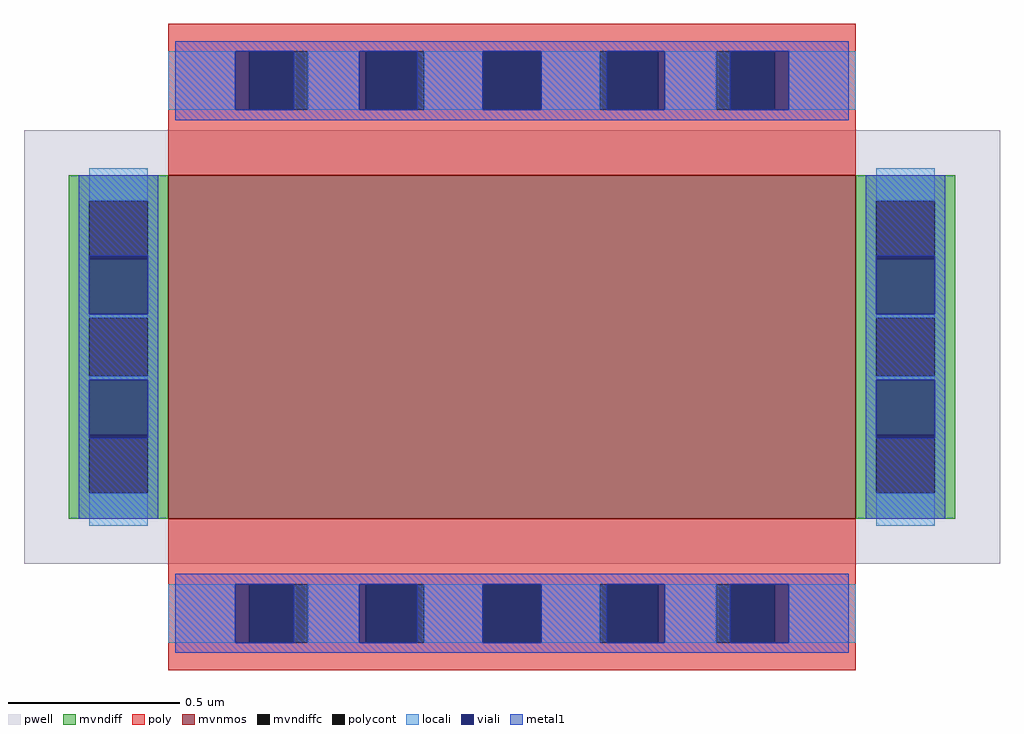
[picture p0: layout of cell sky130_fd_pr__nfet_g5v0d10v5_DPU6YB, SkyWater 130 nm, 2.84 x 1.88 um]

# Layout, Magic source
magic
tech sky130A
magscale 1 2
<< pwell >>
rect -284 -126 284 126
<< mvnmos >>
rect -200 -100 200 100
<< mvndiff >>
rect -258 85 -200 100
rect -258 51 -246 85
rect -212 51 -200 85
rect -258 17 -200 51
rect -258 -17 -246 17
rect -212 -17 -200 17
rect -258 -51 -200 -17
rect -258 -85 -246 -51
rect -212 -85 -200 -51
rect -258 -100 -200 -85
rect 200 85 258 100
rect 200 51 212 85
rect 246 51 258 85
rect 200 17 258 51
rect 200 -17 212 17
rect 246 -17 258 17
rect 200 -51 258 -17
rect 200 -85 212 -51
rect 246 -85 258 -51
rect 200 -100 258 -85
<< mvndiffc >>
rect -246 51 -212 85
rect -246 -17 -212 17
rect -246 -85 -212 -51
rect 212 51 246 85
rect 212 -17 246 17
rect 212 -85 246 -51
<< poly >>
rect -200 172 200 188
rect -200 138 -153 172
rect -119 138 -85 172
rect -51 138 -17 172
rect 17 138 51 172
rect 85 138 119 172
rect 153 138 200 172
rect -200 100 200 138
rect -200 -138 200 -100
rect -200 -172 -153 -138
rect -119 -172 -85 -138
rect -51 -172 -17 -138
rect 17 -172 51 -138
rect 85 -172 119 -138
rect 153 -172 200 -138
rect -200 -188 200 -172
<< polycont >>
rect -153 138 -119 172
rect -85 138 -51 172
rect -17 138 17 172
rect 51 138 85 172
rect 119 138 153 172
rect -153 -172 -119 -138
rect -85 -172 -51 -138
rect -17 -172 17 -138
rect 51 -172 85 -138
rect 119 -172 153 -138
<< locali >>
rect -200 138 -161 172
rect -119 138 -89 172
rect -51 138 -17 172
rect 17 138 51 172
rect 89 138 119 172
rect 161 138 200 172
rect -246 85 -212 104
rect -246 17 -212 19
rect -246 -19 -212 -17
rect -246 -104 -212 -85
rect 212 85 246 104
rect 212 17 246 19
rect 212 -19 246 -17
rect 212 -104 246 -85
rect -200 -172 -161 -138
rect -119 -172 -89 -138
rect -51 -172 -17 -138
rect 17 -172 51 -138
rect 89 -172 119 -138
rect 161 -172 200 -138
<< viali >>
rect -161 138 -153 172
rect -153 138 -127 172
rect -89 138 -85 172
rect -85 138 -55 172
rect -17 138 17 172
rect 55 138 85 172
rect 85 138 89 172
rect 127 138 153 172
rect 153 138 161 172
rect -246 51 -212 53
rect -246 19 -212 51
rect -246 -51 -212 -19
rect -246 -53 -212 -51
rect 212 51 246 53
rect 212 19 246 51
rect 212 -51 246 -19
rect 212 -53 246 -51
rect -161 -172 -153 -138
rect -153 -172 -127 -138
rect -89 -172 -85 -138
rect -85 -172 -55 -138
rect -17 -172 17 -138
rect 55 -172 85 -138
rect 85 -172 89 -138
rect 127 -172 153 -138
rect 153 -172 161 -138
<< metal1 >>
rect -196 172 196 178
rect -196 138 -161 172
rect -127 138 -89 172
rect -55 138 -17 172
rect 17 138 55 172
rect 89 138 127 172
rect 161 138 196 172
rect -196 132 196 138
rect -252 53 -206 100
rect -252 19 -246 53
rect -212 19 -206 53
rect -252 -19 -206 19
rect -252 -53 -246 -19
rect -212 -53 -206 -19
rect -252 -100 -206 -53
rect 206 53 252 100
rect 206 19 212 53
rect 246 19 252 53
rect 206 -19 252 19
rect 206 -53 212 -19
rect 246 -53 252 -19
rect 206 -100 252 -53
rect -196 -138 196 -132
rect -196 -172 -161 -138
rect -127 -172 -89 -138
rect -55 -172 -17 -138
rect 17 -172 55 -138
rect 89 -172 127 -138
rect 161 -172 196 -138
rect -196 -178 196 -172
<< end >>
